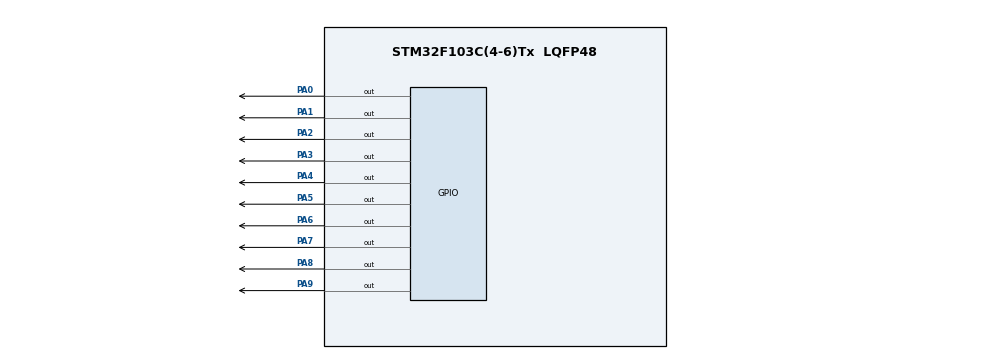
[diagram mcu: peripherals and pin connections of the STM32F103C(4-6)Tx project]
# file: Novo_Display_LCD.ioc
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Mcu.Family=STM32F1
ProjectManager.StackSize=0x400
PA0-WKUP.Signal=GPIO_Output
PA13.Signal=SYS_JTMS-SWDIO
ProjectManager.TargetToolchain=STM32CubeIDE
PA9.Signal=GPIO_Output
PA1.Signal=GPIO_Output
PA5.Signal=GPIO_Output
board=custom
RCC.APB2Freq_Value=8000000
PA14.Mode=Serial_Wire
PA8.Signal=GPIO_Output
PA13.Mode=Serial_Wire
Mcu.Name=STM32F103C(4-6)Tx
PA2.Signal=GPIO_Output
PA4.Signal=GPIO_Output
Mcu.Package=LQFP48
PA6.Signal=GPIO_Output
PA14.Signal=SYS_JTCK-SWCLK
ProjectManager.HeapSize=0x200
NVIC.PriorityGroup=NVIC_PRIORITYGROUP_4
RCC.APB1Freq_Value=8000000
PA3.Signal=GPIO_Output
PA7.Signal=GPIO_Output

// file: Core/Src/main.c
/* USER CODE BEGIN Header */
/**
  ******************************************************************************
  * @file           : main.c
  * @brief          : Main program body
  ******************************************************************************
  * @attention
  *
  * <h2><center>&copy; Copyright (c) 2021 STMicroelectronics.
  * All rights reserved.</center></h2>
  *
  * This software component is licensed by ST under BSD 3-Clause license,
  * the "License"; You may not use this file except in compliance with the
  * License. You may obtain a copy of the License at:
  *                        opensource.org/licenses/BSD-3-Clause
  *
  ******************************************************************************
  */
/* USER CODE END Header */
#include "main.h"

/* USER CODE BEGIN PD */

#define cursor_apagado	0x0c
#define cursor_aceso	0x0e
#define cursor_piscando	0x0f

#define en_0	GPIOA -> BRR = 1<<9
#define en_1	GPIOA -> BSRR = 1<<9
#define rs_0	GPIOA -> BRR = 1<<8
#define rs_1	GPIOA -> BSRR = 1<<8

/* USER CODE END PD */

void SystemClock_Config(void);
static void MX_GPIO_Init(void);
/* USER CODE BEGIN PFP */

void lcd_wrcom(uint8_t com);
void lcd_wrchar(char ch);
void lcd_init(uint8_t cursor);
void lcd_clear (void);
void lcd_goto(uint8_t x, uint8_t y);
//void lcd_wrstr(char *str);

/* USER CODE END PFP */

int main(void)
{
  /* USER CODE BEGIN 1 */

	int k;

  /* USER CODE END 1 */

  /* MCU Configuration--------------------------------------------------------*/

  /* Reset of all peripherals, Initializes the Flash interface and the Systick. */
  HAL_Init();

  /* Configure the system clock */
  SystemClock_Config();

  /* Initialize all configured peripherals */
  MX_GPIO_Init();
  /* USER CODE BEGIN 2 */

  lcd_init(cursor_aceso);
  lcd_goto(8,0);
  lcd_wrchar('A');
  lcd_wrchar('B');
  lcd_wrchar('C');

  HAL_Delay(3000);
  lcd_clear ();

  /* USER CODE END 2 */

  /* Infinite loop */
  while (1)
  {

    /* USER CODE BEGIN 3 */
	  for(k=0; k<100; k++)
	  {
		  lcd_goto(0,1);
		  lcd_wrchar(k/10+'0');
		  lcd_wrchar(k%10+'0');
		  HAL_Delay(100);
	  }
  }
  /* USER CODE END 3 */
}

void SystemClock_Config(void)
{
  RCC_OscInitTypeDef RCC_OscInitStruct = {0};
  RCC_ClkInitTypeDef RCC_ClkInitStruct = {0};

  /** Initializes the RCC Oscillators according to the specified parameters
  * in the RCC_OscInitTypeDef structure.
  */
  RCC_OscInitStruct.OscillatorType = RCC_OSCILLATORTYPE_HSI;
  RCC_OscInitStruct.HSIState = RCC_HSI_ON;
  RCC_OscInitStruct.HSICalibrationValue = RCC_HSICALIBRATION_DEFAULT;
  RCC_OscInitStruct.PLL.PLLState = RCC_PLL_NONE;
  if (HAL_RCC_OscConfig(&RCC_OscInitStruct) != HAL_OK)
  {
    Error_Handler();
  }
  /** Initializes the CPU, AHB and APB buses clocks
  */
  RCC_ClkInitStruct.ClockType = RCC_CLOCKTYPE_HCLK|RCC_CLOCKTYPE_SYSCLK
                              |RCC_CLOCKTYPE_PCLK1|RCC_CLOCKTYPE_PCLK2;
  RCC_ClkInitStruct.SYSCLKSource = RCC_SYSCLKSOURCE_HSI;
  RCC_ClkInitStruct.AHBCLKDivider = RCC_SYSCLK_DIV1;
  RCC_ClkInitStruct.APB1CLKDivider = RCC_HCLK_DIV1;
  RCC_ClkInitStruct.APB2CLKDivider = RCC_HCLK_DIV1;

  if (HAL_RCC_ClockConfig(&RCC_ClkInitStruct, FLASH_LATENCY_0) != HAL_OK)
  {
    Error_Handler();
  }
}

static void MX_GPIO_Init(void)
{
  GPIO_InitTypeDef GPIO_InitStruct = {0};

  /* GPIO Ports Clock Enable */
  __HAL_RCC_GPIOA_CLK_ENABLE();

  /*Configure GPIO pin Output Level */
  HAL_GPIO_WritePin(GPIOA, GPIO_PIN_0|GPIO_PIN_1|GPIO_PIN_2|GPIO_PIN_3
                          |GPIO_PIN_4|GPIO_PIN_5|GPIO_PIN_6|GPIO_PIN_7
                          |GPIO_PIN_8|GPIO_PIN_9, GPIO_PIN_RESET);

  /*Configure GPIO pins : PA0 PA1 PA2 PA3
                           PA4 PA5 PA6 PA7
                           PA8 PA9 */
  GPIO_InitStruct.Pin = GPIO_PIN_0|GPIO_PIN_1|GPIO_PIN_2|GPIO_PIN_3
                          |GPIO_PIN_4|GPIO_PIN_5|GPIO_PIN_6|GPIO_PIN_7
                          |GPIO_PIN_8|GPIO_PIN_9;
  GPIO_InitStruct.Mode = GPIO_MODE_OUTPUT_PP;
  GPIO_InitStruct.Pull = GPIO_NOPULL;
  GPIO_InitStruct.Speed = GPIO_SPEED_FREQ_LOW;
  HAL_GPIO_Init(GPIOA, &GPIO_InitStruct);

}

/* USER CODE BEGIN 4 */

void udelay(void)
{
	int tempo = 7;
	while(tempo--);
}

void delayus(int tempo)
{
	while(tempo--) udelay();
}

void lcd_wrcom(uint8_t com)
{
	GPIOA -> ODR = com;		// D7 ...D0 = com, RS = 0, En = 0
	en_1;
	delayus(5);
	en_0;
	HAL_Delay(5);
}

void lcd_wrchar(char ch)
{
	GPIOA -> ODR = ch;		// D7 ...D0 = com, RS = 0, En = 0
	rs_1;
	en_1;
	delayus(5);
	en_0;
	HAL_Delay(5);
}

void lcd_init(uint8_t cursor)
{
	lcd_wrcom(0x38);
	lcd_wrcom(0x38);
	lcd_wrcom(0x38);
	lcd_wrcom(cursor);
	lcd_wrcom(0x06);
	lcd_wrcom(0x01);
}

void lcd_clear (void)
{
	lcd_wrcom(0x01);
}

void lcd_goto(uint8_t x, uint8_t y)
{
	uint8_t com = 0x80;
	if(y==0) com = 0x80 + x;
	if(y==1) com = 0xC0 + x;
	if(y==2) com = 0x90 + x;
	if(y==3) com = 0xD0 + x;

	lcd_wrcom(com);
}
/* USER CODE END 4 */

void Error_Handler(void)
{
  __disable_irq();
  while (1)
  {
  }
}

/************************ (C) COPYRIGHT STMicroelectronics *****END OF FILE****/
